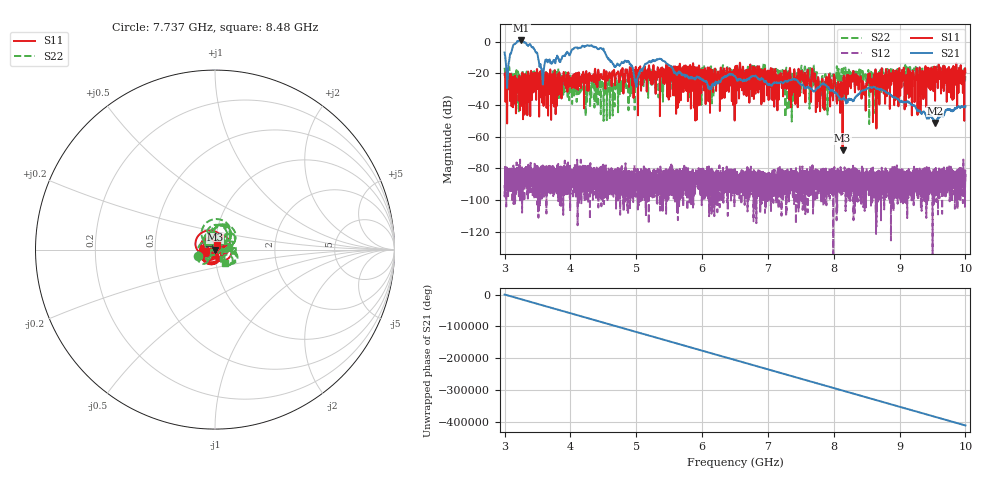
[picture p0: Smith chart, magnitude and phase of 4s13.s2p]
!Agilent Technologies,E8363B,MY43030572,A.06.04.32
!Agilent E8363B: A.06.04.32
!Date: Monday, June 06, 2011 14:58:18
!Correction: S11(Full 2 Port(1,2)) S21(Full 2 Port(1,2)) S12(Full 2 Port(1,2)) S22(Full 2 Port(1,2))
!S2P File: Measurements: S11, S21, S12, S22:
# Hz S  dB  R 50
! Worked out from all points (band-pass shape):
!   6401 points, 3 GHz to 10 GHz, reference 50 ohm
!   highest |S21| = 0.86 dB at 3.256 GHz (marker M1); lowest = -51.2 dB at 9.538 GHz (marker M2)
!   |S21| within 3 dB of the highest: 3.131 GHz to 3.35 GHz (219.5 MHz wide, 6.77 % of centre); 3.363 GHz to 3.397 GHz (34.35 MHz wide, 1.02 % of centre)
!   lowest |S11| = -68.5 dB at 8.134 GHz (marker M3), VSWR 1.00, Z = 50 - j0.0241 ohm
!   |S11| at or under -10 dB: start of sweep to end of sweep
!   |S22| runs from -52.0 to -14.2 dB; largest |S21 - S12| = 1.1
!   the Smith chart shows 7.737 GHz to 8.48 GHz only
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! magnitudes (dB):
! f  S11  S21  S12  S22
! 3 GHz  -20.9  -6.8  -96.7  -16.4
! 3.048 GHz  -20.5  -22.7  -83.9  -18.3
! 3.137 GHz  -22.1  -1.8  -102.5  -21.8
! 3.256 GHz  -40.4  0.9  -80.9  -28.2
! 3.465 GHz  -21.0  -6.2  -85.2  -25.2
! 3.565 GHz  -20.1  -18.1  -87.6  -24.4
! 4.167 GHz  -22.5  -3.4  -88.0  -24.0
! 4.671 GHz  -23.0  -15.8  -94.4  -40.9
! 4.862 GHz  -18.1  -12.7  -85.6  -27.4
! 4.998 GHz  -17.4  -27.3  -89.5  -24.4
! 5.334 GHz  -19.3  -11.0  -83.7  -30.2
! 6.113 GHz  -17.6  -30.0  -87.9  -18.9
! 6.5 GHz  -19.2  -21.7  -86.5  -21.6
! 7.667 GHz  -17.9  -29.8  -90.4  -18.2
! 7.827 GHz  -23.3  -26.4  -90.2  -20.7
! 7.904 GHz  -26.7  -28.6  -92.8  -45.7
! 8.134 GHz  -68.5  -35.6  -90.1  -26.7
! 8.275 GHz  -22.5  -36.4  -85.2  -21.4
! 8.455 GHz  -27.1  -30.5  -89.3  -22.8
! 8.834 GHz  -19.5  -32.3  -89.8  -21.5
! 9.538 GHz  -36.3  -51.2  -87.7  -17.3
! 10 GHz  -19.2  -40.6  -89.7  -19.7
